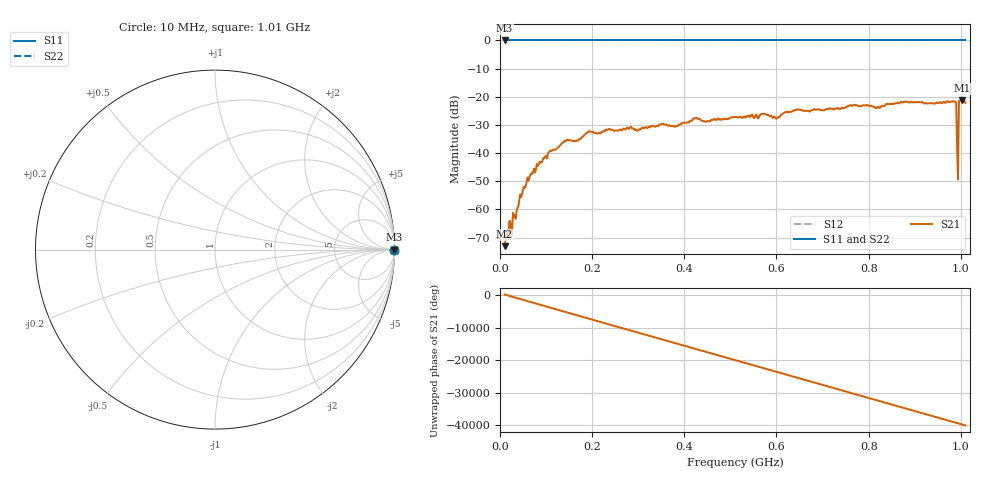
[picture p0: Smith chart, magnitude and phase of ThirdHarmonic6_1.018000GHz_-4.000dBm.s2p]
! 8/16/2025 8:29:16 AM
! C:\ANRITSUVNA\TEMP\TEMP.S2P
! CHANNEL.1
! TR.MEASUREMENT
! RAW.DATA
! RF.CORRECTION.OFF
! AVERAGING.OFF
! IF.BANDWIDTH: 5KHZ
! SWEEPTYPE:  FREQ.SWEEP(Linear)
! Reference Plane Port Info
! PORT:  PORT1  PORT2
! DISTANCE:  0  m  0  m
! TIME:  0  s  0  s
! PHASE.OFFSET:  0  deg.  0  deg.
! LOSS:  0  dB  0  dB
! REF.LOSS:  0  dB  0  dB
! REF.FREQ:  0  Hz  0  Hz
! Power Info
! POWER:  -20  dBm  -20  dBm
! EFF.POWER:  -20  dBm  -20  dBm
! SOURCE.ATTEN:  0  dB  0  dB
! TEST.ATTEN:  0  dB  0  dB
# GHZ S RI R 50.0
! FREQ.GHZ  S11RE  S11IM  S21RE  S21IM  S12RE  S12IM  S22RE  S22IM
!; PortSelection: Port_12
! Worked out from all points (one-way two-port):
!   501 points, 10 MHz to 1.01 GHz, reference 50 ohm
!   highest |S21| = -21.31 dB at 1.002 GHz (marker M1); lowest = -73.1 dB at 10 MHz (marker M2)
!   lowest |S11| = 0.0 dB at 10 MHz (marker M3)
!   |S11| at or under -10 dB: nowhere
!   |S22| runs from 0.0 to 0.0 dB; largest |S21 - S12| = 1.1
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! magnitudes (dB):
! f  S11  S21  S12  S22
! 10 MHz  0.0  -73.1  0.0  0.0
! 36 MHz  0.0  -60.6  0.0  0.0
! 48 MHz  0.0  -54.4  0.0  0.0
! 84 MHz  0.0  -44.0  0.0  0.0
! 142 MHz  0.0  -35.8  0.0  0.0
! 178 MHz  0.0  -34.3  0.0  0.0
! 194 MHz  0.0  -32.2  0.0  0.0
! 344 MHz  0.0  -30.3  0.0  0.0
! 510 MHz  0.0  -27.1  0.0  0.0
! 572 MHz  0.0  -26.0  0.0  0.0
! 602 MHz  0.0  -27.5  0.0  0.0
! 642 MHz  0.0  -24.7  0.0  0.0
! 678 MHz  0.0  -24.8  0.0  0.0
! 844 MHz  0.0  -22.6  0.0  0.0
! 984 MHz  0.0  -21.7  0.0  0.0
! 986 MHz  0.0  -21.6  0.0  0.0
! 990 MHz  0.0  -22.2  0.0  0.0
! 992 MHz  0.0  -37.7  0.0  0.0
! 996 MHz  0.0  -21.6  0.0  0.0
! 1 GHz  0.0  -21.4  0.0  0.0
! 1.002 GHz  0.0  -21.3  0.0  0.0
! 1.01 GHz  0.0  -22.2  0.0  0.0
